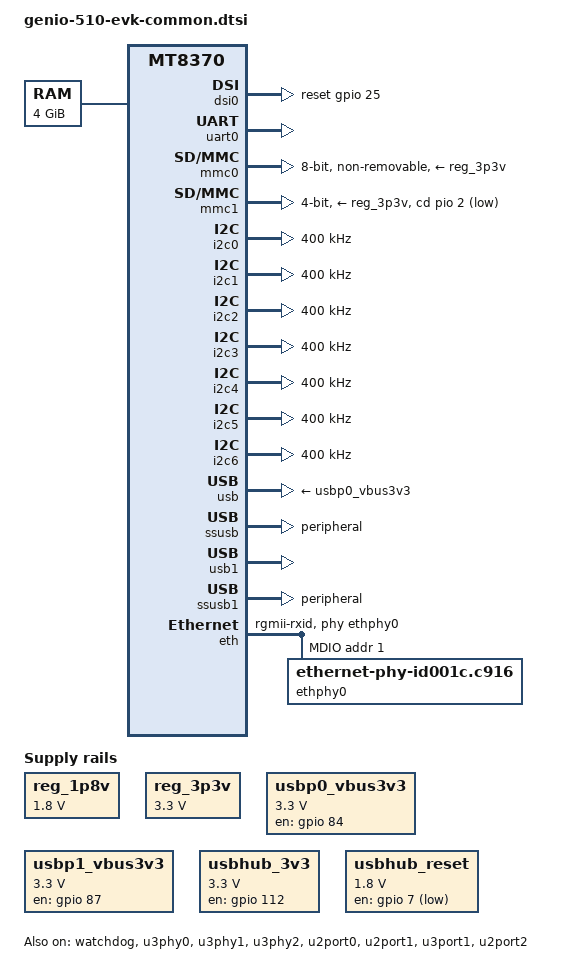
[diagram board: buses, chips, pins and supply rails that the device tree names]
// SPDX-License-Identifier: GPL-2.0 OR MIT
/*
 * Copyright (C) 2023 MediaTek Inc.
 * Author: Macpaul Lin <macpaul.lin@mediatek.com>
 */

#include <config.h>
#include "mt8370.dtsi"
#include "mt6359.dtsi"

/ {
	memory@40000000 {
		/* 4GB */
		device_type = "memory";
		reg = <0 0x40000000 1 0x00000000>;
	};

	firmware: firmware {
		optee {
			compatible = "linaro,optee-tz";
			method = "smc";
		};

		psci: psci {
			compatible = "arm,psci-1.0";
			method = "smc";
		};
	};

	reserved-memory {
		#address-cells = <2>;
		#size-cells = <2>;
		ranges;

		/* 2 MiB reserved for ARM Trusted Firmware (BL31) */
		bl31_secmon_reserved: secmon@54600000 {
			no-map;
			reg = <0 0x54600000 0x0 0x200000>;
		};

		/* 12 MiB reserved for OP-TEE (BL32)
		 * +-----------------------+ 0x43e0_0000
		 * |      SHMEM 2MiB       |
		 * +-----------------------+ 0x43c0_0000
		 * |        | TA_RAM  8MiB |
		 * + TZDRAM +--------------+ 0x4340_0000
		 * |        | TEE_RAM 2MiB |
		 * +-----------------------+ 0x4320_0000
		 */
		optee_reserved: optee@43200000 {
			no-map;
			reg = <0 0x43200000 0 0x00c00000>;
		};

		dsi_reserved: dsi@60000000 {
			reg = <0 0x60000000 0 0x02000000>;
			no-map;
		};
	};

	chosen {
		stdout-path = &uart0;
	};

	reg_1p8v: regulator-1p8v {
		compatible = "regulator-fixed";
		regulator-name = "fixed-1.8V";
		regulator-min-microvolt = <1800000>;
		regulator-max-microvolt = <1800000>;
		regulator-boot-on;
		regulator-always-on;
	};

	reg_3p3v: regulator-3p3v {
		compatible = "regulator-fixed";
		regulator-name = "fixed-3.3V";
		regulator-min-microvolt = <3300000>;
		regulator-max-microvolt = <3300000>;
		regulator-boot-on;
		regulator-always-on;
	};

	usbp0_vbus3v3: usbp0-vbus3v3 {
		compatible = "regulator-fixed";
		regulator-name = "usbp0-vbus3v3";
		regulator-min-microvolt = <3300000>;
		regulator-max-microvolt = <3300000>;
		gpio = <&gpio 84 GPIO_ACTIVE_HIGH>;
		enable-active-high;
	};

	usbp1_vbus3v3: usbp1-vbus3v3 {
		compatible = "regulator-fixed";
		regulator-name = "usbp1-vbus3v3";
		regulator-min-microvolt = <3300000>;
		regulator-max-microvolt = <3300000>;
		gpio = <&gpio 87 GPIO_ACTIVE_HIGH>;
		enable-active-high;
	};

	usbhub_3v3: usbhub-3v3 {
		compatible = "regulator-fixed";
		regulator-name = "usbhub-3v3";
		regulator-min-microvolt = <3300000>;
		regulator-max-microvolt = <3300000>;
		gpio = <&gpio 112 GPIO_ACTIVE_HIGH>;
		startup-delay-us = <10000>;
		enable-active-high;
	};

	usbhub_reset: usbhub-reset {
		compatible = "regulator-fixed";
		regulator-name = "usbhub-reset";
		regulator-min-microvolt = <1800000>;
		regulator-max-microvolt = <1800000>;
		gpio = <&gpio 7 GPIO_ACTIVE_HIGH>;
		enable-active-low;
	};

	dsi0: dsi0{
		compatible = "mediatek,mt8188-dsi";
		reg = <0 0x60000000 0 0x02000000>;
		pinctrl-names = "default";
		pinctrl-0 = <&panel_pins_default>;
		reset-gpios = <&gpio 25 GPIO_ACTIVE_HIGH>;
		dcdc-gpios = <&gpio 45 GPIO_ACTIVE_HIGH>;
		enable-gpios = <&gpio 111 GPIO_ACTIVE_HIGH>;
		status = "okay";
	};

	edp_tx: edp-tx@1c500000 {
		compatible = "mediatek,mt8188-edp-tx";
		reg = <0 0x60000000 0 0x02000000>;
		pinctrl-names = "default";
		pinctrl-0 = <&edp_pin_default>;
		vcc-gpios = <&gpio 15 GPIO_ACTIVE_HIGH>;
		bl-en-gpios = <&gpio 8 GPIO_ACTIVE_HIGH>;
		pwm-gpios = <&gpio 29 GPIO_ACTIVE_HIGH>;
		status = "disabled";
	};
};

&watchdog {
	status = "okay";
};

&uart0 {
	status = "okay";
};

&mmc0 {
	pinctrl-names = "default";
	pinctrl-0 = <&mmc0_pins_default>;
	bus-width = <8>;
	max-frequency = <200000000>;
	cap-mmc-highspeed;
	mmc-hs200-1_8v;
	/*
	 * HS400 Enhanced Strobe (DDR 200 MHz = 400 MT/s, ~2x HS200). The eMMC
	 * supports ES (chip EXT_CSD STROBE_SUPPORT[184]=0x01, CARD_TYPE[196]=0x57);
	 * with both caps the core selects ES over plain HS400. ES is self-aligning
	 * (CMD + read data latch on the eMMC's DS strobe) -- no DS-delay tuning.
	 * set_enhanced_strobe() sets the EMMC50 strobe-latch bits (PADCMD_LATCHCK +
	 * CMD_RESP_SEL + DS_CFG); the clock fix in msdc_set_mclk() treats
	 * MMC_HS_400_ES (a separate u-boot enum from MMC_HS_400) as DDR HS400 +
	 * HS400_CK_MODE. mmc-hs400-1_8v is kept as the fallback. Validated on the
	 * cold USB-DL DRAM-boot: "HS400ES engaged" (e50cfg1 DS_CFG set), switch to
	 * partitions OK, Linux boots from eMMC. (The vendor EVK Linux DT
	 * mt8188-evb.dts ships plain HS400; we enable ES since the chip supports it
	 * and it is verified working here.)
	 */
	mmc-hs400-1_8v;
	mmc-hs400-enhanced-strobe;
	hs400-ds-delay = <0x1481b>;
	cap-mmc-hw-reset;
	vmmc-supply = <&reg_3p3v>;
	vqmmc-supply = <&reg_1p8v>;
	non-removable;
	status = "okay";
};

&mmc1 {
	pinctrl-names = "default";
	pinctrl-0 = <&mmc1_pins_default>;
	bus-width = <4>;
	max-frequency = <52000000>;
	cap-sd-highspeed;
	cd-gpios = <&pio 2 GPIO_ACTIVE_LOW>;
	vmmc-supply = <&reg_3p3v>;
	vqmmc-supply = <&reg_3p3v>;
	status = "okay";
};

&pio {
	panel_pins_default: panel-pins-default {
		panel-dcdc {
			pinmux = <PINMUX_GPIO45__FUNC_B_GPIO45>;
			output-low;
		};

		panel-en {
			pinmux = <PINMUX_GPIO111__FUNC_B_GPIO111>;
			output-low;
		};

		panel-rst {
			pinmux = <PINMUX_GPIO25__FUNC_B_GPIO25>;
			output-high;
		};

		pins-bl {
			pinmux = <PINMUX_GPIO30__FUNC_O_DISP_PWM1>;
		};
	};

	ethdefault: ethdefault {
		pins-cc {
			pinmux = <PINMUX_GPIO139__FUNC_B0_GBE_TXC>,
				 <PINMUX_GPIO140__FUNC_I0_GBE_RXC>,
				 <PINMUX_GPIO141__FUNC_I0_GBE_RXDV>,
				 <PINMUX_GPIO142__FUNC_O_GBE_TXEN>;
			drive-strength = <MTK_DRIVE_8mA>;
		};

		pins-mdio {
			pinmux = <PINMUX_GPIO143__FUNC_O_GBE_MDC>,
				 <PINMUX_GPIO144__FUNC_B1_GBE_MDIO>;
			drive-strength = <MTK_DRIVE_8mA>;
			input-enable;
		};

		pins-power {
			pinmux = <PINMUX_GPIO145__FUNC_B_GPIO145>,
				 <PINMUX_GPIO146__FUNC_B_GPIO146>;
			output-high;
		};

		pins-rxd {
			pinmux = <PINMUX_GPIO135__FUNC_I0_GBE_RXD3>,
				 <PINMUX_GPIO136__FUNC_I0_GBE_RXD2>,
				 <PINMUX_GPIO137__FUNC_I0_GBE_RXD1>,
				 <PINMUX_GPIO138__FUNC_I0_GBE_RXD0>;
			drive-strength = <MTK_DRIVE_8mA>;
		};

		pins-txd {
			pinmux = <PINMUX_GPIO131__FUNC_O_GBE_TXD3>,
				 <PINMUX_GPIO132__FUNC_O_GBE_TXD2>,
				 <PINMUX_GPIO133__FUNC_O_GBE_TXD1>,
				 <PINMUX_GPIO134__FUNC_O_GBE_TXD0>;
			drive-strength = <MTK_DRIVE_8mA>;
		};
	};

	ethsleep: ethsleep {
		pins-cc {
			pinmux = <PINMUX_GPIO139__FUNC_B_GPIO139>,
				 <PINMUX_GPIO140__FUNC_B_GPIO140>,
				 <PINMUX_GPIO141__FUNC_B_GPIO141>,
				 <PINMUX_GPIO142__FUNC_B_GPIO142>;
		};

		pins-mdio {
			pinmux = <PINMUX_GPIO143__FUNC_B_GPIO143>,
				 <PINMUX_GPIO144__FUNC_B_GPIO144>;
			input-disable;
			bias-disable;
		};

		pins-rxd {
			pinmux = <PINMUX_GPIO135__FUNC_B_GPIO135>,
				 <PINMUX_GPIO136__FUNC_B_GPIO136>,
				 <PINMUX_GPIO137__FUNC_B_GPIO137>,
				 <PINMUX_GPIO138__FUNC_B_GPIO138>;
		};

		pins-txd {
			pinmux = <PINMUX_GPIO131__FUNC_B_GPIO131>,
				 <PINMUX_GPIO132__FUNC_B_GPIO132>,
				 <PINMUX_GPIO133__FUNC_B_GPIO133>,
				 <PINMUX_GPIO134__FUNC_B_GPIO134>;
		};
	};

	edp_pin_default: edp-pin-default {
		edp-panel-vcc {
			pinmux = <PINMUX_GPIO15__FUNC_B_GPIO15>;
			output-low;
		};

		edp-panel-hpd {
			pinmux = <PINMUX_GPIO17__FUNC_I0_EDP_TX_HPD>;
			bias-pull-up;
		};

		edp-panel-bl-en {
			pinmux = <PINMUX_GPIO8__FUNC_B_GPIO8>;
			output-low;
		};

		edp-panel-pwm {
			pinmux = <PINMUX_GPIO29__FUNC_O_DISP_PWM0>;
			output-low;
		};
	};

	i2c0_pin: i2c0-pin {
		pins-bus {
			pinmux = <PINMUX_GPIO56__FUNC_B1_SDA0>,
				 <PINMUX_GPIO55__FUNC_B1_SCL0>;
			input-enable;
			bias-pull-up;
		};
	};

	i2c1_pin: i2c1-pin {
		pins-bus {
			pinmux = <PINMUX_GPIO58__FUNC_B1_SDA1>,
				 <PINMUX_GPIO57__FUNC_B1_SCL1>;
			input-enable;
			bias-pull-up;
		};
	};

	i2c2_pin: i2c2-pin {
		pins-bus {
			pinmux = <PINMUX_GPIO60__FUNC_B1_SDA2>,
				 <PINMUX_GPIO59__FUNC_B1_SCL2>;
			input-enable;
			bias-pull-up;
		};
	};

	i2c3_pin: i2c3-pin {
		pins-bus {
			pinmux = <PINMUX_GPIO62__FUNC_B1_SDA3>,
				 <PINMUX_GPIO61__FUNC_B1_SCL3>;
			input-enable;
			bias-pull-up;
		};
	};

	i2c4_pin: i2c4-pin {
		pins-bus {
			pinmux = <PINMUX_GPIO64__FUNC_B1_SDA4>,
				 <PINMUX_GPIO63__FUNC_B1_SCL4>;
			input-enable;
			bias-pull-up;
		};
	};

	i2c5_pin: i2c5-pin {
		pins-bus {
			pinmux = <PINMUX_GPIO66__FUNC_B1_SDA5>,
				 <PINMUX_GPIO65__FUNC_B1_SCL5>;
			input-enable;
			bias-pull-up;
		};
	};

	i2c6_pin: i2c6-pin {
		pins-bus {
			pinmux = <PINMUX_GPIO68__FUNC_B1_SDA6>,
				 <PINMUX_GPIO67__FUNC_B1_SCL6>;
			input-enable;
			bias-pull-up;
		};
	};

	usb1_default: usbp1default {
		vbus-pins {
			pinmux = <PINMUX_GPIO87__FUNC_O_USB_DRVVBUS_1P>;
			output-high;
		};
	};

	mmc1_pins_default: mmc1default {
		pins-cmd-dat {
			pinmux = <PINMUX_GPIO163__FUNC_B1_MSDC1_CMD>,
				 <PINMUX_GPIO165__FUNC_B1_MSDC1_DAT0>,
				 <PINMUX_GPIO166__FUNC_B1_MSDC1_DAT1>,
				 <PINMUX_GPIO167__FUNC_B1_MSDC1_DAT2>,
				 <PINMUX_GPIO168__FUNC_B1_MSDC1_DAT3>;
			input-enable;
			drive-strength = <MTK_DRIVE_6mA>;
			bias-pull-up = <MTK_PUPD_SET_R1R0_01>;
		};

		pins-clk {
			pinmux = <PINMUX_GPIO164__FUNC_B1_MSDC1_CLK>;
			drive-strength = <MTK_DRIVE_6mA>;
			bias-pull-down = <MTK_PUPD_SET_R1R0_10>;
		};

		pins-insert {
			pinmux = <PINMUX_GPIO2__FUNC_B_GPIO2>;
			bias-pull-up;
		};
	};

	/*
	 * eMMC (msdc0) pad config -- ported from the Linux DT mmc0_pins_uhs
	 * (mt8188-geralt.dtsi): drive-strength 8mA + the data-strobe pad
	 * (MSDC0_DSL). u-boot had NO &mmc0 pinctrl, so the DS pad was never
	 * muxed and HS400/HS400ES (which latch reads on the strobe) failed
	 * "-5" from the cold DRAM-boot, while HS200 (SDR, no strobe) limped on
	 * the BROM-default mux. One state (HS400-capable) is applied at probe --
	 * u-boot boots once straight to the high-speed mode.
	 */
	mmc0_pins_default: mmc0default {
		pins-cmd-dat {
			pinmux = <PINMUX_GPIO161__FUNC_B1_MSDC0_DAT0>,
				 <PINMUX_GPIO160__FUNC_B1_MSDC0_DAT1>,
				 <PINMUX_GPIO159__FUNC_B1_MSDC0_DAT2>,
				 <PINMUX_GPIO158__FUNC_B1_MSDC0_DAT3>,
				 <PINMUX_GPIO154__FUNC_B1_MSDC0_DAT4>,
				 <PINMUX_GPIO153__FUNC_B1_MSDC0_DAT5>,
				 <PINMUX_GPIO152__FUNC_B1_MSDC0_DAT6>,
				 <PINMUX_GPIO151__FUNC_B1_MSDC0_DAT7>,
				 <PINMUX_GPIO156__FUNC_B1_MSDC0_CMD>;
			input-enable;
			drive-strength = <MTK_DRIVE_8mA>;
			bias-pull-up = <MTK_PUPD_SET_R1R0_01>;
		};

		pins-clk {
			pinmux = <PINMUX_GPIO157__FUNC_B1_MSDC0_CLK>;
			drive-strength = <MTK_DRIVE_8mA>;
			bias-pull-down = <MTK_PUPD_SET_R1R0_10>;
		};

		pins-ds {
			pinmux = <PINMUX_GPIO162__FUNC_B0_MSDC0_DSL>;
			drive-strength = <MTK_DRIVE_8mA>;
			bias-pull-down = <MTK_PUPD_SET_R1R0_10>;
		};

		pins-rst {
			pinmux = <PINMUX_GPIO155__FUNC_O_MSDC0_RSTB>;
			drive-strength = <MTK_DRIVE_8mA>;
			bias-pull-up = <MTK_PUPD_SET_R1R0_01>;
		};
	};
};

&i2c0 {
	pinctrl-names = "default";
	pinctrl-0 = <&i2c0_pin>;
	clock-frequency = <400000>;
	status = "okay";
};

&i2c1 {
	pinctrl-names = "default";
	pinctrl-0 = <&i2c1_pin>;
	clock-frequency = <400000>;
	status = "okay";
};

&i2c2 {
	pinctrl-names = "default";
	pinctrl-0 = <&i2c2_pin>;
	clock-frequency = <400000>;
	status = "okay";
};

&i2c3 {
	pinctrl-names = "default";
	pinctrl-0 = <&i2c3_pin>;
	clock-frequency = <400000>;
	status = "okay";
};

&i2c4 {
	pinctrl-names = "default";
	pinctrl-0 = <&i2c4_pin>;
	clock-frequency = <400000>;
	status = "okay";
};

&i2c5 {
	pinctrl-names = "default";
	pinctrl-0 = <&i2c5_pin>;
	clock-frequency = <400000>;
	status = "okay";
};

&i2c6 {
	pinctrl-names = "default";
	pinctrl-0 = <&i2c6_pin>;
	clock-frequency = <400000>;
	status = "okay";
};

&u3phy0 {
	status = "okay";
};

&u3phy1 {
	status = "okay";
};

&u3phy2 {
	status = "okay";
};

&u2port0 {
	status = "okay";
};

&u2port1 {
	status = "okay";
};

&u3port1 {
	status = "okay";
};

&u2port2 {
	status = "okay";
};

&usb {
	vbus-supply = <&usbp0_vbus3v3>;
	status = "okay";
};

&ssusb {
	mediatek,force-vbus;
	maximum-speed = "high-speed";
	dr_mode = "peripheral";
	status = "okay";
};

/* USB3 P1 (ssusb1): MX G5 SODIMM SSUSB, not Type-C P0. Same IP as xhci1 —
 * gadget only, do not probe the host MAC. */
&usb1 {
	status = "okay";
};

&ssusb1 {
	mediatek,force-vbus;
	maximum-speed = "super-speed";
	dr_mode = "peripheral";
	status = "okay";
};

&xhci1 {
	status = "disabled";
};

&eth {
	phy-mode ="rgmii-rxid";
	phy-handle = <&ethphy0>;
	mediatek,tx-delay-ps = <2030>;
	pinctrl-names = "default", "sleep";
	pinctrl-0 = <&ethdefault>;
	pinctrl-1 = <&ethsleep>;
	status = "okay";

	mdio {
		compatible = "snps,dwmac-mdio";
		#address-cells = <1>;
		#size-cells = <0>;
		ethphy0: ethphy0@1 {
			compatible = "ethernet-phy-id001c.c916";
			reg = <0x1>;
		};
	};
};

